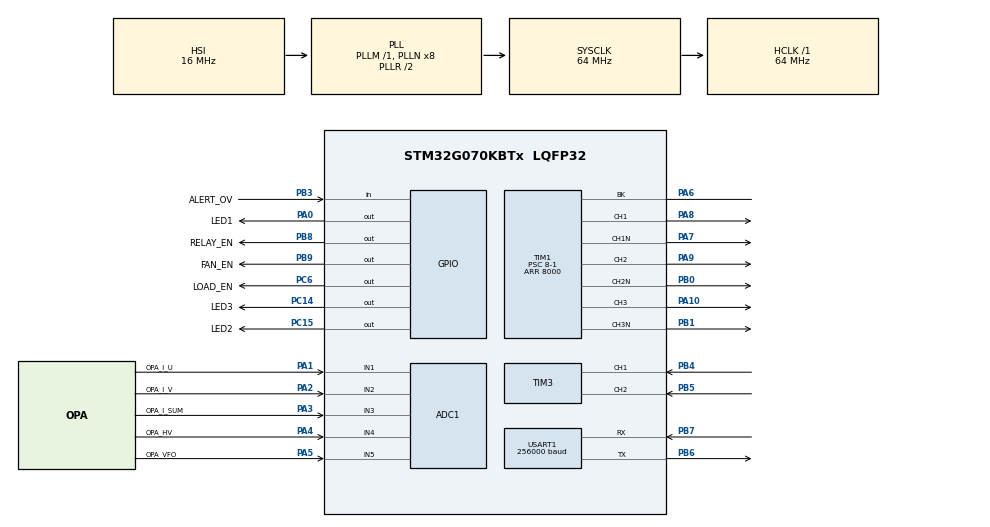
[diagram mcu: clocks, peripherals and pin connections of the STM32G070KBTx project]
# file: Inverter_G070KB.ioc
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ADC1.Channel-0\#ChannelRegularConversion=ADC_CHANNEL_1
ADC1.Channel-1\#ChannelRegularConversion=ADC_CHANNEL_2
ADC1.Channel-2\#ChannelRegularConversion=ADC_CHANNEL_3
ADC1.Channel-3\#ChannelRegularConversion=ADC_CHANNEL_4
ADC1.Channel-4\#ChannelRegularConversion=ADC_CHANNEL_5
ADC1.ClockPrescaler=ADC_CLOCK_SYNC_PCLK_DIV4
ADC1.ContinuousConvMode=ENABLE
ADC1.DMAContinuousRequests=DISABLE
ADC1.EOCSelection=ADC_EOC_SEQ_CONV
ADC1.NbrOfConversion=5
ADC1.NbrOfConversionFlag=1
ADC1.Overrun=ADC_OVR_DATA_PRESERVED
ADC1.Rank-0\#ChannelRegularConversion=1
ADC1.Rank-1\#ChannelRegularConversion=2
ADC1.Rank-2\#ChannelRegularConversion=3
ADC1.Rank-3\#ChannelRegularConversion=4
ADC1.Rank-4\#ChannelRegularConversion=5
ADC1.SamplingTime-0\#ChannelRegularConversion=ADC_SAMPLINGTIME_COMMON_1
ADC1.SamplingTime-1\#ChannelRegularConversion=ADC_SAMPLINGTIME_COMMON_1
ADC1.SamplingTime-2\#ChannelRegularConversion=ADC_SAMPLINGTIME_COMMON_1
ADC1.SamplingTime-3\#ChannelRegularConversion=ADC_SAMPLINGTIME_COMMON_1
ADC1.SamplingTime-4\#ChannelRegularConversion=ADC_SAMPLINGTIME_COMMON_1
ADC1.SamplingTimeCommon1=ADC_SAMPLETIME_79CYCLES_5
ADC1.SamplingTimeCommon2=ADC_SAMPLETIME_160CYCLES_5
ADC1.SelectedChannel=ADC_CHANNEL_1|ADC_CHANNEL_2|ADC_CHANNEL_3|ADC_CHANNEL_4|ADC_CHANNEL_5
ADC1.master=1
Dma.ADC1.0.Direction=DMA_PERIPH_TO_MEMORY
Dma.ADC1.0.EventEnable=DISABLE
Dma.ADC1.0.Instance=DMA1_Channel1
Dma.ADC1.0.MemDataAlignment=DMA_MDATAALIGN_WORD
Dma.ADC1.0.MemInc=DMA_MINC_ENABLE
Dma.ADC1.0.Mode=DMA_NORMAL
Dma.ADC1.0.PeriphDataAlignment=DMA_PDATAALIGN_HALFWORD
Dma.ADC1.0.PeriphInc=DMA_PINC_DISABLE
Dma.ADC1.0.Polarity=HAL_DMAMUX_REQ_GEN_RISING
Dma.ADC1.0.Priority=DMA_PRIORITY_LOW
Dma.ADC1.0.RequestNumber=1
Dma.ADC1.0.SignalID=NONE
Dma.ADC1.0.SyncEnable=DISABLE
Dma.ADC1.0.SyncPolarity=HAL_DMAMUX_SYNC_NO_EVENT
Dma.ADC1.0.SyncRequestNumber=1
Dma.ADC1.0.SyncSignalID=NONE
Dma.Request0=ADC1
Mcu.Family=STM32G0
Mcu.Name=STM32G070KBTx
Mcu.Package=LQFP32
NVIC.DMA1_Channel1_IRQn=true\:1\:0\:true\:false\:true\:false\:true
NVIC.TIM1_BRK_UP_TRG_COM_IRQn=true\:0\:0\:false\:false\:true\:true\:true
NVIC.USART1_IRQn=true\:2\:0\:true\:false\:true\:true\:true
PA0.GPIO_Label=LED1
PA0.GPIO_Speed=GPIO_SPEED_FREQ_VERY_HIGH
PA0.Signal=GPIO_Output
PA1.GPIO_Label=OPA_I_U
PA1.Mode=IN1
PA1.Signal=ADC1_IN1
PA10.Signal=S_TIM1_CH3
PA13.Mode=Serial_Wire
PA13.Signal=SYS_SWDIO
PA14-BOOT0.Mode=Serial_Wire
PA14-BOOT0.Signal=SYS_SWCLK
PA2.GPIO_Label=OPA_I_V
PA2.Mode=IN2
PA2.Signal=ADC1_IN2
PA3.GPIO_Label=OPA_I_SUM
PA3.Mode=IN3
PA3.Signal=ADC1_IN3
PA4.GPIO_Label=OPA_HV
PA4.Mode=IN4
PA4.Signal=ADC1_IN4
PA5.GPIO_Label=OPA_VFO
PA5.Mode=IN5
PA5.Signal=ADC1_IN5
PA6.Mode=Activate-Break-Input
PA6.Signal=TIM1_BK
PA7.Mode=PWM Generation1 CH1 CH1N
PA7.Signal=TIM1_CH1N
PA8.Signal=S_TIM1_CH1
PA9.Signal=S_TIM1_CH2
PB0.Mode=PWM Generation2 CH2 CH2N
PB0.Signal=TIM1_CH2N
PB1.Mode=PWM Generation3 CH3 CH3N
PB1.Signal=TIM1_CH3N
PB3.GPIO_Label=ALERT_OV
PB3.Signal=GPIO_Input
PB4.Signal=S_TIM3_CH1
PB5.Signal=S_TIM3_CH2
PB6.Mode=Asynchronous
PB6.Signal=USART1_TX
PB7.Mode=Asynchronous
PB7.Signal=USART1_RX
PB8.GPIO_Label=RELAY_EN
PB8.Signal=GPIO_Output
PB9.GPIO_Label=FAN_EN
PB9.Signal=GPIO_Output
PC14-OSC32_IN\ (PC14).GPIO_Label=LED3
PC14-OSC32_IN\ (PC14).Signal=GPIO_Output
PC15-OSC32_OUT\ (PC15).GPIO_Label=LED2
PC15-OSC32_OUT\ (PC15).Signal=GPIO_Output
PC6.GPIO_Label=LOAD_EN
PC6.Signal=GPIO_Output
ProjectManager.HeapSize=0x400
ProjectManager.StackSize=0x800
ProjectManager.TargetToolchain=STM32CubeIDE
RCC.ADCFreq_Value=64000000
RCC.AHBFreq_Value=64000000
RCC.CortexFreq_Value=64000000
RCC.EXTERNAL_CLOCK_VALUE=48000
RCC.HCLKFreq_Value=64000000
RCC.HSE_VALUE=8000000
RCC.HSI_VALUE=16000000
RCC.LSE_VALUE=32768
RCC.SYSCLKFreq_VALUE=64000000
RCC.SYSCLKSource=RCC_SYSCLKSOURCE_PLLCLK
RCC.VCOOutputFreq_Value=128000000
SH.S_TIM1_CH1.0=TIM1_CH1,PWM Generation1 CH1 CH1N
SH.S_TIM1_CH2.0=TIM1_CH2,PWM Generation2 CH2 CH2N
SH.S_TIM1_CH3.0=TIM1_CH3,PWM Generation3 CH3 CH3N
SH.S_TIM3_CH1.0=TIM3_CH1,Encoder_Interface
SH.S_TIM3_CH2.0=TIM3_CH2,Encoder_Interface
TIM1.AutoReloadPreload=TIM_AUTORELOAD_PRELOAD_ENABLE
TIM1.BreakPolarity=TIM_BREAKPOLARITY_LOW
TIM1.BreakState=TIM_BREAK_ENABLE
TIM1.Channel-PWM\ Generation1\ CH1\ CH1N=TIM_CHANNEL_1
TIM1.Channel-PWM\ Generation2\ CH2\ CH2N=TIM_CHANNEL_2
TIM1.Channel-PWM\ Generation3\ CH3\ CH3N=TIM_CHANNEL_3
TIM1.Channel-PWM\ Generation4\ No\ Output=TIM_CHANNEL_4
TIM1.CounterMode=TIM_COUNTERMODE_CENTERALIGNED3
TIM1.DeadTime=96
TIM1.Period=8000
TIM1.Prescaler=8-1
USART1.BaudRate=256000
USART1.DMADisableonRxErrorParam=ADVFEATURE_DMA_DISABLEONRXERROR
USART1.Mode=MODE_RX
USART1.StopBits=STOPBITS_1_5
USART1.VirtualMode-Asynchronous=VM_ASYNC
USART1.WordLength=WORDLENGTH_8B
VP_CRC_VS_CRC.Mode=CRC_Activate
VP_SYS_VS_DBSignals.Mode=DisableDeadBatterySignals
VP_TIM1_VS_no_output4.Mode=PWM Generation4 No Output
board=custom

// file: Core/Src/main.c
/* USER CODE BEGIN Header */
/**
 ******************************************************************************
 * @file           : main.c
 * @brief          : Main program body
 ******************************************************************************
 * @attention
 *
 * <h2><center>&copy; Copyright (c) 2020 STMicroelectronics.
 * All rights reserved.</center></h2>
 *
 * This software component is licensed by ST under BSD 3-Clause license,
 * the "License"; You may not use this file except in compliance with the
 * License. You may obtain a copy of the License at:
 *                        opensource.org/licenses/BSD-3-Clause
 *
 ******************************************************************************
 */
/* USER CODE END Header */
#include "main.h"
#include "adc.h"
#include "crc.h"
#include "dma.h"
#include "tim.h"
#include "usart.h"
#include "gpio.h"

/* USER CODE BEGIN Includes */
#include "math.h"
#include "g_inverter.h"
#include "g_uart.h"
/* USER CODE END Includes */

/* USER CODE BEGIN PV */

__IO uint32_t temp;

/* USER CODE END PV */

void SystemClock_Config(void);

int main(void)
{

  /* MCU Configuration--------------------------------------------------------*/

  /* Reset of all peripherals, Initializes the Flash interface and the Systick. */
  HAL_Init();

  /* USER CODE BEGIN Init */
  HAL_Delay(500);
  /* USER CODE END Init */

  /* Configure the system clock */
  SystemClock_Config();

  /* Initialize all configured peripherals */
  MX_GPIO_Init();
  MX_DMA_Init();
  MX_ADC1_Init();
  MX_CRC_Init();
  MX_TIM1_Init();
  MX_TIM3_Init();
  MX_USART1_UART_Init();
  /* USER CODE BEGIN 2 */

  HAL_GPIO_WritePin (LED1_GPIO_Port, LED1_Pin, GPIO_PIN_SET); 	//GREEN
  HAL_GPIO_WritePin (LED2_GPIO_Port, LED2_Pin, GPIO_PIN_SET);	//YEL
  HAL_GPIO_WritePin (LED3_GPIO_Port, LED3_Pin, GPIO_PIN_SET);	//RED
  HAL_Delay (500);
  HAL_GPIO_WritePin (LED2_GPIO_Port, LED2_Pin, GPIO_PIN_RESET);
  HAL_Delay (500);
  HAL_GPIO_WritePin (LED3_GPIO_Port, LED3_Pin, GPIO_PIN_RESET);

  HAL_UART_Receive_IT(&huart1, (uint8_t*)&g_uartBuf.byte[U_ADDR], 1);

  g_TIM1_init();	//запускаем генерацию

  /* USER CODE END 2 */

  /* Infinite loop */
  while (1)
    {

    }
}

void SystemClock_Config(void)
{
  RCC_OscInitTypeDef RCC_OscInitStruct = {0};
  RCC_ClkInitTypeDef RCC_ClkInitStruct = {0};
  RCC_PeriphCLKInitTypeDef PeriphClkInit = {0};

  /** Configure the main internal regulator output voltage
  */
  HAL_PWREx_ControlVoltageScaling(PWR_REGULATOR_VOLTAGE_SCALE1);
  /** Initializes the RCC Oscillators according to the specified parameters
  * in the RCC_OscInitTypeDef structure.
  */
  RCC_OscInitStruct.OscillatorType = RCC_OSCILLATORTYPE_HSI;
  RCC_OscInitStruct.HSIState = RCC_HSI_ON;
  RCC_OscInitStruct.HSIDiv = RCC_HSI_DIV1;
  RCC_OscInitStruct.HSICalibrationValue = RCC_HSICALIBRATION_DEFAULT;
  RCC_OscInitStruct.PLL.PLLState = RCC_PLL_ON;
  RCC_OscInitStruct.PLL.PLLSource = RCC_PLLSOURCE_HSI;
  RCC_OscInitStruct.PLL.PLLM = RCC_PLLM_DIV1;
  RCC_OscInitStruct.PLL.PLLN = 8;
  RCC_OscInitStruct.PLL.PLLP = RCC_PLLP_DIV2;
  RCC_OscInitStruct.PLL.PLLR = RCC_PLLR_DIV2;
  if (HAL_RCC_OscConfig(&RCC_OscInitStruct) != HAL_OK)
  {
    Error_Handler();
  }
  /** Initializes the CPU, AHB and APB buses clocks
  */
  RCC_ClkInitStruct.ClockType = RCC_CLOCKTYPE_HCLK|RCC_CLOCKTYPE_SYSCLK
                              |RCC_CLOCKTYPE_PCLK1;
  RCC_ClkInitStruct.SYSCLKSource = RCC_SYSCLKSOURCE_PLLCLK;
  RCC_ClkInitStruct.AHBCLKDivider = RCC_SYSCLK_DIV1;
  RCC_ClkInitStruct.APB1CLKDivider = RCC_HCLK_DIV1;

  if (HAL_RCC_ClockConfig(&RCC_ClkInitStruct, FLASH_LATENCY_2) != HAL_OK)
  {
    Error_Handler();
  }
  /** Initializes the peripherals clocks
  */
  PeriphClkInit.PeriphClockSelection = RCC_PERIPHCLK_USART1|RCC_PERIPHCLK_ADC;
  PeriphClkInit.Usart1ClockSelection = RCC_USART1CLKSOURCE_PCLK1;
  PeriphClkInit.AdcClockSelection = RCC_ADCCLKSOURCE_SYSCLK;
  if (HAL_RCCEx_PeriphCLKConfig(&PeriphClkInit) != HAL_OK)
  {
    Error_Handler();
  }
}

/* USER CODE BEGIN 4 */
void HAL_ADC_ConvCpltCallback(ADC_HandleTypeDef *hadc)
{
	HAL_GPIO_TogglePin(LED1_GPIO_Port, LED1_Pin);
}

void HAL_TIM_PeriodElapsedCallback(TIM_HandleTypeDef *htim)	//PWM IT
{
	if (TIM1->SR & TIM_SR_BIF)	//попали сюда по BREAK?
	{
		TIM1->CR1 &= ~TIM_CR1_CEN;//выключить счет TODO сделать запись об ошибке
		TIM1->DIER &= ~(TIM_DIER_UIE | TIM_DIER_BIE);//выключить прерывания по update и по break
		g_arr1[INV_STATE] = INV_STOP;
		if (g_arr1[INV_ERRSTATE] != NO_ERRORS)
		{
			HAL_GPIO_WritePin(LED3_GPIO_Port, LED3_Pin, GPIO_PIN_SET);
		}
		else
		{
			HAL_GPIO_WritePin(LED2_GPIO_Port, LED2_Pin, GPIO_PIN_SET);
		}
//		g_arr1[INV_ERRSTATE] =
	}
	else if (TIM1->SR & TIM_SR_UIF)	//попали сюда по update прерыванию?
	{
		calcFreq();	//считаем Ш�?М
	}

}

void HAL_SYSTICK_Callback(void)
{
	g_uartSysTick();	//анализирует UART, реализует таймаут UART
	g_invertorSysTick();//разгон/торможение
}

void HAL_UART_RxCpltCallback(UART_HandleTypeDef *huart)
{
	g_uartIT();
}
/* USER CODE END 4 */

void Error_Handler(void)
{
}

/************************ (C) COPYRIGHT STMicroelectronics *****END OF FILE****/
